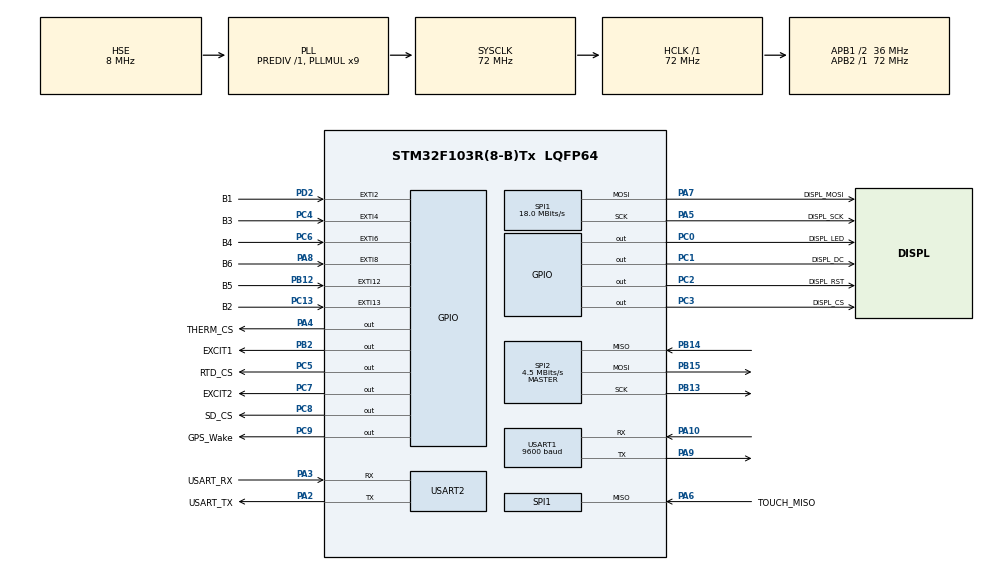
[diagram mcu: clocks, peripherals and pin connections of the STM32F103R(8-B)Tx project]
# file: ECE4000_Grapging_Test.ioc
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Dma.Request0=SPI1_RX
Dma.Request1=SPI1_TX
Dma.Request2=USART1_RX
Dma.SPI1_RX.0.Direction=DMA_PERIPH_TO_MEMORY
Dma.SPI1_RX.0.Instance=DMA1_Channel2
Dma.SPI1_RX.0.MemDataAlignment=DMA_MDATAALIGN_BYTE
Dma.SPI1_RX.0.MemInc=DMA_MINC_ENABLE
Dma.SPI1_RX.0.Mode=DMA_NORMAL
Dma.SPI1_RX.0.PeriphDataAlignment=DMA_PDATAALIGN_BYTE
Dma.SPI1_RX.0.PeriphInc=DMA_PINC_DISABLE
Dma.SPI1_RX.0.Priority=DMA_PRIORITY_LOW
Dma.SPI1_TX.1.Direction=DMA_MEMORY_TO_PERIPH
Dma.SPI1_TX.1.Instance=DMA1_Channel3
Dma.SPI1_TX.1.MemDataAlignment=DMA_MDATAALIGN_BYTE
Dma.SPI1_TX.1.MemInc=DMA_MINC_ENABLE
Dma.SPI1_TX.1.Mode=DMA_NORMAL
Dma.SPI1_TX.1.PeriphDataAlignment=DMA_PDATAALIGN_BYTE
Dma.SPI1_TX.1.PeriphInc=DMA_PINC_DISABLE
Dma.SPI1_TX.1.Priority=DMA_PRIORITY_LOW
Dma.USART1_RX.2.Direction=DMA_PERIPH_TO_MEMORY
Dma.USART1_RX.2.Instance=DMA1_Channel5
Dma.USART1_RX.2.MemDataAlignment=DMA_MDATAALIGN_BYTE
Dma.USART1_RX.2.MemInc=DMA_MINC_ENABLE
Dma.USART1_RX.2.Mode=DMA_CIRCULAR
Dma.USART1_RX.2.PeriphDataAlignment=DMA_PDATAALIGN_BYTE
Dma.USART1_RX.2.PeriphInc=DMA_PINC_DISABLE
Dma.USART1_RX.2.Priority=DMA_PRIORITY_LOW
FATFS._CODE_PAGE=437
FATFS._USE_LABEL=1
FATFS._USE_LFN=1
Mcu.Family=STM32F1
Mcu.Name=STM32F103R(8-B)Tx
Mcu.Package=LQFP64
NVIC.DMA1_Channel2_IRQn=true\:0\:0\:false\:false\:true\:false\:true\:true
NVIC.DMA1_Channel3_IRQn=true\:0\:0\:false\:false\:true\:false\:true\:true
NVIC.DMA1_Channel5_IRQn=true\:0\:0\:false\:false\:true\:false\:true\:true
NVIC.EXTI15_10_IRQn=true\:0\:0\:false\:false\:true\:true\:true\:true
NVIC.EXTI2_IRQn=true\:0\:0\:false\:false\:true\:true\:true\:true
NVIC.EXTI4_IRQn=true\:0\:0\:false\:false\:true\:true\:true\:true
NVIC.EXTI9_5_IRQn=true\:0\:0\:false\:false\:true\:true\:true\:true
NVIC.PriorityGroup=NVIC_PRIORITYGROUP_4
NVIC.TIM2_IRQn=true\:0\:0\:false\:false\:true\:true\:true\:true
PA10.Mode=Asynchronous
PA10.Signal=USART1_RX
PA13.GPIO_Label=TMS
PA13.Mode=Serial_Wire
PA13.Signal=SYS_JTMS-SWDIO
PA14.GPIO_Label=TCK
PA14.Mode=Serial_Wire
PA14.Signal=SYS_JTCK-SWCLK
PA2.GPIO_Label=USART_TX
PA2.GPIO_Mode=GPIO_MODE_AF_PP
PA2.GPIO_PuPd=GPIO_NOPULL
PA2.GPIO_Speed=GPIO_SPEED_FREQ_LOW
PA2.Mode=Asynchronous
PA2.Signal=USART2_TX
PA3.GPIO_Label=USART_RX
PA3.GPIO_Mode=GPIO_MODE_AF_PP
PA3.GPIO_PuPd=GPIO_NOPULL
PA3.GPIO_Speed=GPIO_SPEED_FREQ_LOW
PA3.Mode=Asynchronous
PA3.Signal=USART2_RX
PA4.GPIO_Label=THERM_CS
PA4.GPIO_Speed=GPIO_SPEED_FREQ_HIGH
PA4.PinState=GPIO_PIN_SET
PA4.Signal=GPIO_Output
PA5.GPIO_Label=DISPL_SCK
PA5.Mode=Full_Duplex_Master
PA5.Signal=SPI1_SCK
PA6.GPIO_Label=TOUCH_MISO
PA6.GPIO_PuPd=GPIO_NOPULL
PA6.Mode=Full_Duplex_Master
PA6.Signal=SPI1_MISO
PA7.GPIO_Label=DISPL_MOSI
PA7.Mode=Full_Duplex_Master
PA7.Signal=SPI1_MOSI
PA8.GPIO_Label=B6
PA8.GPIO_ModeDefaultEXTI=GPIO_MODE_IT_FALLING
PA8.Signal=GPXTI8
PA9.Mode=Asynchronous
PA9.Signal=USART1_TX
PB12.GPIO_Label=B5
PB12.GPIO_ModeDefaultEXTI=GPIO_MODE_IT_FALLING
PB12.Signal=GPXTI12
PB13.Mode=Full_Duplex_Master
PB13.Signal=SPI2_SCK
PB14.Mode=Full_Duplex_Master
PB14.Signal=SPI2_MISO
PB15.Mode=Full_Duplex_Master
PB15.Signal=SPI2_MOSI
PB2.GPIO_Label=EXCIT1
PB2.Signal=GPIO_Output
PC0.GPIO_Label=DISPL_LED
PC0.Signal=GPIO_Output
PC1.GPIO_Label=DISPL_DC
PC1.Signal=GPIO_Output
PC13-TAMPER-RTC.GPIO_Label=B2
PC13-TAMPER-RTC.GPIO_ModeDefaultEXTI=GPIO_MODE_IT_FALLING
PC13-TAMPER-RTC.Signal=GPXTI13
PC14-OSC32_IN.Mode=LSE-External-Oscillator
PC14-OSC32_IN.Signal=RCC_OSC32_IN
PC15-OSC32_OUT.Mode=LSE-External-Oscillator
PC15-OSC32_OUT.Signal=RCC_OSC32_OUT
PC2.GPIO_Label=DISPL_RST
PC2.Signal=GPIO_Output
PC3.GPIO_Label=DISPL_CS
PC3.PinState=GPIO_PIN_SET
PC3.Signal=GPIO_Output
PC4.GPIO_Label=B3
PC4.GPIO_ModeDefaultEXTI=GPIO_MODE_IT_FALLING
PC4.Signal=GPXTI4
PC5.GPIO_Label=RTD_CS
PC5.GPIO_Speed=GPIO_SPEED_FREQ_HIGH
PC5.PinState=GPIO_PIN_SET
PC5.Signal=GPIO_Output
PC6.GPIO_Label=B4
PC6.GPIO_ModeDefaultEXTI=GPIO_MODE_IT_FALLING
PC6.Signal=GPXTI6
PC7.GPIO_Label=EXCIT2
PC7.Signal=GPIO_Output
PC8.GPIO_Label=SD_CS
PC8.GPIO_PuPd=GPIO_NOPULL
PC8.GPIO_Speed=GPIO_SPEED_FREQ_HIGH
PC8.PinState=GPIO_PIN_SET
PC8.Signal=GPIO_Output
PC9.GPIO_Label=GPS_Wake
PC9.Signal=GPIO_Output
PD0-OSC_IN.Mode=HSE-External-Clock-Source
PD0-OSC_IN.Signal=RCC_OSC_IN
PD1-OSC_OUT.Mode=HSE-External-Clock-Source
PD1-OSC_OUT.Signal=RCC_OSC_OUT
PD2.GPIO_Label=B1
PD2.GPIO_ModeDefaultEXTI=GPIO_MODE_IT_FALLING
PD2.Signal=GPXTI2
ProjectManager.HeapSize=0x200
ProjectManager.StackSize=0x400
ProjectManager.TargetToolchain=STM32CubeIDE
RCC.AHBFreq_Value=72000000
RCC.APB1CLKDivider=RCC_HCLK_DIV2
RCC.APB1Freq_Value=36000000
RCC.APB1TimFreq_Value=72000000
RCC.APB2Freq_Value=72000000
RCC.APB2TimFreq_Value=72000000
RCC.HCLKFreq_Value=72000000
RCC.PLLMUL=RCC_PLL_MUL9
RCC.PLLSourceVirtual=RCC_PLLSOURCE_HSE
RCC.RTCClockSelection=RCC_RTCCLKSOURCE_LSE
RCC.SYSCLKFreq_VALUE=72000000
RCC.SYSCLKSource=RCC_SYSCLKSOURCE_PLLCLK
RCC.USBFreq_Value=72000000
SPI1.BaudRatePrescaler=SPI_BAUDRATEPRESCALER_4
SPI1.CalculateBaudRate=18.0 MBits/s
SPI1.Direction=SPI_DIRECTION_2LINES
SPI1.Mode=SPI_MODE_MASTER
SPI1.VirtualType=VM_MASTER
SPI2.BaudRatePrescaler=SPI_BAUDRATEPRESCALER_8
SPI2.CLKPhase=SPI_PHASE_2EDGE
SPI2.CalculateBaudRate=4.5 MBits/s
SPI2.Direction=SPI_DIRECTION_2LINES
SPI2.Mode=SPI_MODE_MASTER
SPI2.VirtualType=VM_MASTER
TIM2.Period=1000-1
TIM2.Prescaler=7200-1
USART1.BaudRate=9600
USART1.VirtualMode=VM_ASYNC
USART2.VirtualMode=VM_ASYNC
VP_FATFS_VS_Generic.Mode=User_defined
VP_TIM2_VS_ClockSourceINT.Mode=Internal
VP_TIM3_VS_ClockSourceINT.Mode=Internal
board=NUCLEO-F103RB

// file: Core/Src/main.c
/* USER CODE BEGIN Header */
/**
  ******************************************************************************
  * @file           : main.c
  * @brief          : Main program body
  ******************************************************************************
  * @attention
  *
  * Copyright (c) 2026 STMicroelectronics.
  * All rights reserved.
  *
  * This software is licensed under terms that can be found in the LICENSE file
  * in the root directory of this software component.
  * If no LICENSE file comes with this software, it is provided AS-IS.
  *
  ******************************************************************************
  */
/* USER CODE END Header */
#include "main.h"
#include "fatfs.h"

/* USER CODE BEGIN Includes */
#include "sd_functions.h"
#include "max31865_stm32.h"
#include "max31856_stm32.h"
#include "SD_Commands.h"
#include "sd_spi.h"
#include "z_displ_ILI9XXX.h"
#include <stdio.h>
#include <string.h>
#include "MAX_Commands.h"
#include "Menus.h"
#include "fileselecting.h"

/* USER CODE END Includes */

/* USER CODE BEGIN PD */
#define SD_CS_LOW()     HAL_GPIO_WritePin(SD_CS_GPIO_Port, SD_CS_Pin, GPIO_PIN_RESET)
#define SD_CS_HIGH()    HAL_GPIO_WritePin(SD_CS_GPIO_Port, SD_CS_Pin, GPIO_PIN_SET)

/* USER CODE END PD */

SPI_HandleTypeDef hspi1;
SPI_HandleTypeDef hspi2;
DMA_HandleTypeDef hdma_spi1_rx;
DMA_HandleTypeDef hdma_spi1_tx;

TIM_HandleTypeDef htim2;
TIM_HandleTypeDef htim3;

UART_HandleTypeDef huart1;
UART_HandleTypeDef huart2;
DMA_HandleTypeDef hdma_usart1_rx;

/* USER CODE BEGIN PV */

// Faaiz UI 0/1 states
static uint8_t ui_sd_mounted   = 0;
static uint8_t ui_create_file  = 0;
static uint8_t ui_run_test     = 0;
static uint8_t ui_excit1       = 0;
static uint8_t ui_excit2       = 0;

// Faaiz screen Layout
#define UI_X      20
#define UI_Y0     40
#define UI_DY     40

volatile uint8_t TEMP_TIMER = 0;

char filename[32] = "TESTTESTTEST";

/* USER CODE END PV */

void SystemClock_Config(void);
static void MX_GPIO_Init(void);
static void MX_DMA_Init(void);
static void MX_SPI1_Init(void);
static void MX_SPI2_Init(void);
static void MX_USART2_UART_Init(void);
static void MX_USART1_UART_Init(void);
static void MX_TIM3_Init(void);
static void MX_TIM2_Init(void);

/* USER CODE BEGIN 0 */
volatile uint8_t buttons = 0;

int _write(int file, char *ptr, int len) {
    for (int i = 0; i < len; i++) {
        ITM_SendChar((*ptr++));
    }
    return len;
}

int SDMOUNT(SPI_HandleTypeDef *hspi)
{
	uint32_t original = hspi->Init.BaudRatePrescaler;
	HAL_SPI_DeInit(hspi);
	hspi->Init.BaudRatePrescaler = SPI_BAUDRATEPRESCALER_256;
	HAL_Delay(10);
	HAL_SPI_Init(hspi);

	SD_CS_HIGH();  // Ensure card is deselected
	HAL_Delay(10);

	int connected = sd_mount();

	HAL_SPI_DeInit(hspi);
	hspi->Init.BaudRatePrescaler = original;
	HAL_Delay(10);
	HAL_SPI_Init(hspi);

	return connected;
}

// Faaiz screen
//static void UI_DrawLine(uint8_t line, const char *text, uint8_t val)
void UI_DrawLine(uint8_t line, const char *text, uint8_t val)
{
  char buf[64];
  snprintf(buf, sizeof(buf), "%s: %d", text, val);
  Displ_WString(UI_X, (uint16_t)(UI_Y0 + line * UI_DY),
                buf, Font16, 1, WHITE, BLACK);
}

void UI_DrawAll(void)
{
  Displ_CLS(BLACK);

  Displ_WString(UI_X, 10, "Button / Screen Test", Font16, 1, WHITE, BLACK);

  UI_DrawLine(0, "B1 - Mount SD Card",   ui_sd_mounted);
  UI_DrawLine(1, "B2 - Create file",     ui_create_file);
  UI_DrawLine(2, "B3 - Run Test",        ui_run_test);
  UI_DrawLine(3, "B4 - Exciter Relay 1", ui_excit1);
  UI_DrawLine(4, "B5 - Exciter Relay 2", ui_excit2);
}
// Faaiz screen
/* USER CODE END 0 */

int main(void)
{

  /* MCU Configuration--------------------------------------------------------*/

  /* Reset of all peripherals, Initializes the Flash interface and the Systick. */
  HAL_Init();

  /* USER CODE BEGIN Init */
//  MAX31865_HandleTypeDef MAX_RTD;
//  MAX31865_HandleTypeDef MAX_RTD;

  /* USER CODE END Init */

  /* Configure the system clock */
  SystemClock_Config();

  /* Initialize all configured peripherals */
  MX_GPIO_Init();
  MX_DMA_Init();
  MX_SPI1_Init();
  MX_SPI2_Init();
  MX_USART2_UART_Init();
  MX_USART1_UART_Init();
  MX_TIM3_Init();
  MX_TIM2_Init();
  /* USER CODE BEGIN 2 */

//  SD_CS_HIGH();  // Ensure card is deselected
  HAL_Delay(30);
//  int connected = sd_mount();
//  sd_test_read_raw();
//  sd_write_file("test1.txt", "hello from STM32\r\n");

//////  char buf[64];
//////  UINT br;
//////  FRESULT r = sd_read_file("test1.txt", buf, sizeof(buf), &br);
//////  printf("read_file = %d, br = %u, data = '%s'\r\n", r, br, buf);
////
//////  sd_list_files();
////
////  //TLS-CRC-2025-10-30-11-29-14A.csv
////  readMeasurementData("readMeasurementData.csv", 6485);
////  sd_unmount();
    GPS_Init(&huart1);
//
//  int connected = SDMOUNT(&hspi1);
//  printf("Connected: %d\n", connected);
////  sd_test_read_raw();
////  sd_write_file("test1.txt", "hello from STM32\r\n");
//
////  char buf[64];
////  UINT br;
////  FRESULT r = sd_read_file("test1.txt", buf, sizeof(buf), &br);
////  printf("read_file = %d, br = %u, data = '%s'\r\n", r, br, buf);
//
//  sd_list_files();
//
//  //TLS-CRC-2025-10-30-11-29-14A.csv - 6485
////  readMeasurementData("TLS-CRC-2025-10-30-11-29-14A.csv", &tempsLen, 15);
//
//  METADATA md;
//  char * filename = "TLS-SIN";
//  createMeasurementFile(&filename, &md);
//
////  float mins = 4;
//  float mins = 0.02;
//  float t=0;
//  float sampleTime = 1.0/15.0;
//  char text[10];
//  while(t < mins * 60)
//  {
//	  sprintf(text, "%.3f\n", sin(t));
//	  sd_append_file(filename, text);
//	  t += sampleTime;
//  }
//
//  sd_unmount();

//  GPS_Data_t gps = {0};
//  GPS_oneshot();
//  printGPSData(&gps);

//  printf("Running RTD Test...\n");
//  MAX31865_Init(&MAX_RTD, &hspi2, RTD_CS_GPIO_Port, RTD_CS_Pin, MAX31865_WIRES_3, 0);
//
//  uint16_t raw15;
//  MAX31865_ReadRTDRaw(&MAX_RTD, &raw15);
//  uint8_t buf[8];
//  MAX31865_ReadN(&MAX_RTD, 0, buf, 8);
//
//
//
//  for(int i=0;i<8;i++)
//  {
//	  printf("%02X  ", buf[i]);
//  }
//  printf("\n");

  // Faaiz screen
  // Display init
  Displ_Init(Displ_Orientat_90);
  Displ_CLS(BLACK);
  Displ_BackLight('I');
  HAL_GPIO_WritePin(DISPL_LED_GPIO_Port, DISPL_LED_Pin, 1);
  // Draw the page once
 // UI_DrawAll();
  // Faaiz screen

	int connected;
	do
	{
		connected = SDMOUNT(&hspi1);
		HAL_Delay(500);
		if(connected != FR_OK) sd_unmount();
		HAL_Delay(100);
	}while(connected != FR_OK);

	selectFile();

	printf("File Selected: %s\n", filename);

	  Displ_CLS(BLACK);
	drawGraph(0, 0, 400, 300);

	sd_unmount();

  /* USER CODE END 2 */

  /* Infinite loop */
  while (1)
  {

  }
}

void SystemClock_Config(void)
{
  RCC_OscInitTypeDef RCC_OscInitStruct = {0};
  RCC_ClkInitTypeDef RCC_ClkInitStruct = {0};

  /** Initializes the RCC Oscillators according to the specified parameters
  * in the RCC_OscInitTypeDef structure.
  */
  RCC_OscInitStruct.OscillatorType = RCC_OSCILLATORTYPE_HSE;
  RCC_OscInitStruct.HSEState = RCC_HSE_BYPASS;
  RCC_OscInitStruct.HSEPredivValue = RCC_HSE_PREDIV_DIV1;
  RCC_OscInitStruct.HSIState = RCC_HSI_ON;
  RCC_OscInitStruct.PLL.PLLState = RCC_PLL_ON;
  RCC_OscInitStruct.PLL.PLLSource = RCC_PLLSOURCE_HSE;
  RCC_OscInitStruct.PLL.PLLMUL = RCC_PLL_MUL9;
  if (HAL_RCC_OscConfig(&RCC_OscInitStruct) != HAL_OK)
  {
    Error_Handler();
  }

  /** Initializes the CPU, AHB and APB buses clocks
  */
  RCC_ClkInitStruct.ClockType = RCC_CLOCKTYPE_HCLK|RCC_CLOCKTYPE_SYSCLK
                              |RCC_CLOCKTYPE_PCLK1|RCC_CLOCKTYPE_PCLK2;
  RCC_ClkInitStruct.SYSCLKSource = RCC_SYSCLKSOURCE_PLLCLK;
  RCC_ClkInitStruct.AHBCLKDivider = RCC_SYSCLK_DIV1;
  RCC_ClkInitStruct.APB1CLKDivider = RCC_HCLK_DIV2;
  RCC_ClkInitStruct.APB2CLKDivider = RCC_HCLK_DIV1;

  if (HAL_RCC_ClockConfig(&RCC_ClkInitStruct, FLASH_LATENCY_2) != HAL_OK)
  {
    Error_Handler();
  }
}

static void MX_SPI1_Init(void)
{

  /* SPI1 parameter configuration*/
  hspi1.Instance = SPI1;
  hspi1.Init.Mode = SPI_MODE_MASTER;
  hspi1.Init.Direction = SPI_DIRECTION_2LINES;
  hspi1.Init.DataSize = SPI_DATASIZE_8BIT;
  hspi1.Init.CLKPolarity = SPI_POLARITY_LOW;
  hspi1.Init.CLKPhase = SPI_PHASE_1EDGE;
  hspi1.Init.NSS = SPI_NSS_SOFT;
  hspi1.Init.BaudRatePrescaler = SPI_BAUDRATEPRESCALER_4;
  hspi1.Init.FirstBit = SPI_FIRSTBIT_MSB;
  hspi1.Init.TIMode = SPI_TIMODE_DISABLE;
  hspi1.Init.CRCCalculation = SPI_CRCCALCULATION_DISABLE;
  hspi1.Init.CRCPolynomial = 10;
  if (HAL_SPI_Init(&hspi1) != HAL_OK)
  {
    Error_Handler();
  }

}

static void MX_SPI2_Init(void)
{

  /* SPI2 parameter configuration*/
  hspi2.Instance = SPI2;
  hspi2.Init.Mode = SPI_MODE_MASTER;
  hspi2.Init.Direction = SPI_DIRECTION_2LINES;
  hspi2.Init.DataSize = SPI_DATASIZE_8BIT;
  hspi2.Init.CLKPolarity = SPI_POLARITY_LOW;
  hspi2.Init.CLKPhase = SPI_PHASE_2EDGE;
  hspi2.Init.NSS = SPI_NSS_SOFT;
  hspi2.Init.BaudRatePrescaler = SPI_BAUDRATEPRESCALER_8;
  hspi2.Init.FirstBit = SPI_FIRSTBIT_MSB;
  hspi2.Init.TIMode = SPI_TIMODE_DISABLE;
  hspi2.Init.CRCCalculation = SPI_CRCCALCULATION_DISABLE;
  hspi2.Init.CRCPolynomial = 10;
  if (HAL_SPI_Init(&hspi2) != HAL_OK)
  {
    Error_Handler();
  }

}

static void MX_TIM2_Init(void)
{

  TIM_ClockConfigTypeDef sClockSourceConfig = {0};
  TIM_MasterConfigTypeDef sMasterConfig = {0};

  htim2.Instance = TIM2;
  htim2.Init.Prescaler = 7200-1;
  htim2.Init.CounterMode = TIM_COUNTERMODE_UP;
  htim2.Init.Period = 1000-1;
  htim2.Init.ClockDivision = TIM_CLOCKDIVISION_DIV1;
  htim2.Init.AutoReloadPreload = TIM_AUTORELOAD_PRELOAD_DISABLE;
  if (HAL_TIM_Base_Init(&htim2) != HAL_OK)
  {
    Error_Handler();
  }
  sClockSourceConfig.ClockSource = TIM_CLOCKSOURCE_INTERNAL;
  if (HAL_TIM_ConfigClockSource(&htim2, &sClockSourceConfig) != HAL_OK)
  {
    Error_Handler();
  }
  sMasterConfig.MasterOutputTrigger = TIM_TRGO_RESET;
  sMasterConfig.MasterSlaveMode = TIM_MASTERSLAVEMODE_DISABLE;
  if (HAL_TIMEx_MasterConfigSynchronization(&htim2, &sMasterConfig) != HAL_OK)
  {
    Error_Handler();
  }

}

static void MX_TIM3_Init(void)
{

  TIM_ClockConfigTypeDef sClockSourceConfig = {0};
  TIM_MasterConfigTypeDef sMasterConfig = {0};

  htim3.Instance = TIM3;
  htim3.Init.Prescaler = 0;
  htim3.Init.CounterMode = TIM_COUNTERMODE_UP;
  htim3.Init.Period = 65535;
  htim3.Init.ClockDivision = TIM_CLOCKDIVISION_DIV1;
  htim3.Init.AutoReloadPreload = TIM_AUTORELOAD_PRELOAD_DISABLE;
  if (HAL_TIM_Base_Init(&htim3) != HAL_OK)
  {
    Error_Handler();
  }
  sClockSourceConfig.ClockSource = TIM_CLOCKSOURCE_INTERNAL;
  if (HAL_TIM_ConfigClockSource(&htim3, &sClockSourceConfig) != HAL_OK)
  {
    Error_Handler();
  }
  sMasterConfig.MasterOutputTrigger = TIM_TRGO_RESET;
  sMasterConfig.MasterSlaveMode = TIM_MASTERSLAVEMODE_DISABLE;
  if (HAL_TIMEx_MasterConfigSynchronization(&htim3, &sMasterConfig) != HAL_OK)
  {
    Error_Handler();
  }

}

static void MX_USART1_UART_Init(void)
{

  huart1.Instance = USART1;
  huart1.Init.BaudRate = 9600;
  huart1.Init.WordLength = UART_WORDLENGTH_8B;
  huart1.Init.StopBits = UART_STOPBITS_1;
  huart1.Init.Parity = UART_PARITY_NONE;
  huart1.Init.Mode = UART_MODE_TX_RX;
  huart1.Init.HwFlowCtl = UART_HWCONTROL_NONE;
  huart1.Init.OverSampling = UART_OVERSAMPLING_16;
  if (HAL_UART_Init(&huart1) != HAL_OK)
  {
    Error_Handler();
  }

}

static void MX_USART2_UART_Init(void)
{

  huart2.Instance = USART2;
  huart2.Init.BaudRate = 115200;
  huart2.Init.WordLength = UART_WORDLENGTH_8B;
  huart2.Init.StopBits = UART_STOPBITS_1;
  huart2.Init.Parity = UART_PARITY_NONE;
  huart2.Init.Mode = UART_MODE_TX_RX;
  huart2.Init.HwFlowCtl = UART_HWCONTROL_NONE;
  huart2.Init.OverSampling = UART_OVERSAMPLING_16;
  if (HAL_UART_Init(&huart2) != HAL_OK)
  {
    Error_Handler();
  }

}

static void MX_DMA_Init(void)
{

  /* DMA controller clock enable */
  __HAL_RCC_DMA1_CLK_ENABLE();

  /* DMA interrupt init */
  /* DMA1_Channel2_IRQn interrupt configuration */
  HAL_NVIC_SetPriority(DMA1_Channel2_IRQn, 0, 0);
  HAL_NVIC_EnableIRQ(DMA1_Channel2_IRQn);
  /* DMA1_Channel3_IRQn interrupt configuration */
  HAL_NVIC_SetPriority(DMA1_Channel3_IRQn, 0, 0);
  HAL_NVIC_EnableIRQ(DMA1_Channel3_IRQn);
  /* DMA1_Channel5_IRQn interrupt configuration */
  HAL_NVIC_SetPriority(DMA1_Channel5_IRQn, 0, 0);
  HAL_NVIC_EnableIRQ(DMA1_Channel5_IRQn);

}

static void MX_GPIO_Init(void)
{
  GPIO_InitTypeDef GPIO_InitStruct = {0};

  /* GPIO Ports Clock Enable */
  __HAL_RCC_GPIOC_CLK_ENABLE();
  __HAL_RCC_GPIOD_CLK_ENABLE();
  __HAL_RCC_GPIOA_CLK_ENABLE();
  __HAL_RCC_GPIOB_CLK_ENABLE();

  /*Configure GPIO pin Output Level */
  HAL_GPIO_WritePin(GPIOC, DISPL_LED_Pin|DISPL_DC_Pin|DISPL_RST_Pin|EXCIT2_Pin
                          |GPS_Wake_Pin, GPIO_PIN_RESET);

  /*Configure GPIO pin Output Level */
  HAL_GPIO_WritePin(GPIOC, DISPL_CS_Pin|RTD_CS_Pin|SD_CS_Pin, GPIO_PIN_SET);

  /*Configure GPIO pin Output Level */
  HAL_GPIO_WritePin(THERM_CS_GPIO_Port, THERM_CS_Pin, GPIO_PIN_SET);

  /*Configure GPIO pin Output Level */
  HAL_GPIO_WritePin(EXCIT1_GPIO_Port, EXCIT1_Pin, GPIO_PIN_RESET);

  /*Configure GPIO pins : B2_Pin B3_Pin B4_Pin */
  GPIO_InitStruct.Pin = B2_Pin|B3_Pin|B4_Pin;
  GPIO_InitStruct.Mode = GPIO_MODE_IT_FALLING;
  GPIO_InitStruct.Pull = GPIO_NOPULL;
  HAL_GPIO_Init(GPIOC, &GPIO_InitStruct);

  /*Configure GPIO pins : DISPL_LED_Pin DISPL_DC_Pin DISPL_RST_Pin DISPL_CS_Pin
                           EXCIT2_Pin GPS_Wake_Pin */
  GPIO_InitStruct.Pin = DISPL_LED_Pin|DISPL_DC_Pin|DISPL_RST_Pin|DISPL_CS_Pin
                          |EXCIT2_Pin|GPS_Wake_Pin;
  GPIO_InitStruct.Mode = GPIO_MODE_OUTPUT_PP;
  GPIO_InitStruct.Pull = GPIO_NOPULL;
  GPIO_InitStruct.Speed = GPIO_SPEED_FREQ_LOW;
  HAL_GPIO_Init(GPIOC, &GPIO_InitStruct);

  /*Configure GPIO pin : THERM_CS_Pin */
  GPIO_InitStruct.Pin = THERM_CS_Pin;
  GPIO_InitStruct.Mode = GPIO_MODE_OUTPUT_PP;
  GPIO_InitStruct.Pull = GPIO_NOPULL;
  GPIO_InitStruct.Speed = GPIO_SPEED_FREQ_HIGH;
  HAL_GPIO_Init(THERM_CS_GPIO_Port, &GPIO_InitStruct);

  /*Configure GPIO pins : RTD_CS_Pin SD_CS_Pin */
  GPIO_InitStruct.Pin = RTD_CS_Pin|SD_CS_Pin;
  GPIO_InitStruct.Mode = GPIO_MODE_OUTPUT_PP;
  GPIO_InitStruct.Pull = GPIO_NOPULL;
  GPIO_InitStruct.Speed = GPIO_SPEED_FREQ_HIGH;
  HAL_GPIO_Init(GPIOC, &GPIO_InitStruct);

  /*Configure GPIO pin : EXCIT1_Pin */
  GPIO_InitStruct.Pin = EXCIT1_Pin;
  GPIO_InitStruct.Mode = GPIO_MODE_OUTPUT_PP;
  GPIO_InitStruct.Pull = GPIO_NOPULL;
  GPIO_InitStruct.Speed = GPIO_SPEED_FREQ_LOW;
  HAL_GPIO_Init(EXCIT1_GPIO_Port, &GPIO_InitStruct);

  /*Configure GPIO pin : B5_Pin */
  GPIO_InitStruct.Pin = B5_Pin;
  GPIO_InitStruct.Mode = GPIO_MODE_IT_FALLING;
  GPIO_InitStruct.Pull = GPIO_NOPULL;
  HAL_GPIO_Init(B5_GPIO_Port, &GPIO_InitStruct);

  /*Configure GPIO pin : B6_Pin */
  GPIO_InitStruct.Pin = B6_Pin;
  GPIO_InitStruct.Mode = GPIO_MODE_IT_FALLING;
  GPIO_InitStruct.Pull = GPIO_NOPULL;
  HAL_GPIO_Init(B6_GPIO_Port, &GPIO_InitStruct);

  /*Configure GPIO pin : B1_Pin */
  GPIO_InitStruct.Pin = B1_Pin;
  GPIO_InitStruct.Mode = GPIO_MODE_IT_FALLING;
  GPIO_InitStruct.Pull = GPIO_NOPULL;
  HAL_GPIO_Init(B1_GPIO_Port, &GPIO_InitStruct);

  /* EXTI interrupt init*/
  HAL_NVIC_SetPriority(EXTI2_IRQn, 0, 0);
  HAL_NVIC_EnableIRQ(EXTI2_IRQn);

  HAL_NVIC_SetPriority(EXTI4_IRQn, 0, 0);
  HAL_NVIC_EnableIRQ(EXTI4_IRQn);

  HAL_NVIC_SetPriority(EXTI9_5_IRQn, 0, 0);
  HAL_NVIC_EnableIRQ(EXTI9_5_IRQn);

  HAL_NVIC_SetPriority(EXTI15_10_IRQn, 0, 0);
  HAL_NVIC_EnableIRQ(EXTI15_10_IRQn);

}

/* USER CODE BEGIN 4 */
void HAL_GPIO_EXTI_Callback(uint16_t GPIO_Pin)
{
  if(GPIO_Pin == B1_Pin)
  {
	  buttons |= 0x01;
  }
  if(GPIO_Pin == B2_Pin)
  {
	  buttons |= 0x02;
  }
  if(GPIO_Pin == B3_Pin)
  {
	  buttons |= 0x04;
  }
  if(GPIO_Pin == B4_Pin)
  {
	  buttons |= 0x08;
  }
  if(GPIO_Pin == B5_Pin)
  {
	  buttons |= 0x10;
  }
  if(GPIO_Pin == B6_Pin)
  {
	  buttons |= 0x20;
  }
}

void HAL_SPI_TxCpltCallback(SPI_HandleTypeDef *hspi)
{
    SD_OnSpiTxComplete(hspi);
    Displ_OnSpiTxComplete(hspi);
}

void HAL_TIM_PeriodElapsedCallback(TIM_HandleTypeDef *htim)
{
  if (htim->Instance == TIM2) // Check if the interrupt is from TIM2
  {
	  TEMP_TIMER = 1;
  }
}
/* USER CODE END 4 */

void Error_Handler(void)
{
  __disable_irq();
  while (1)
  {
  }
}
